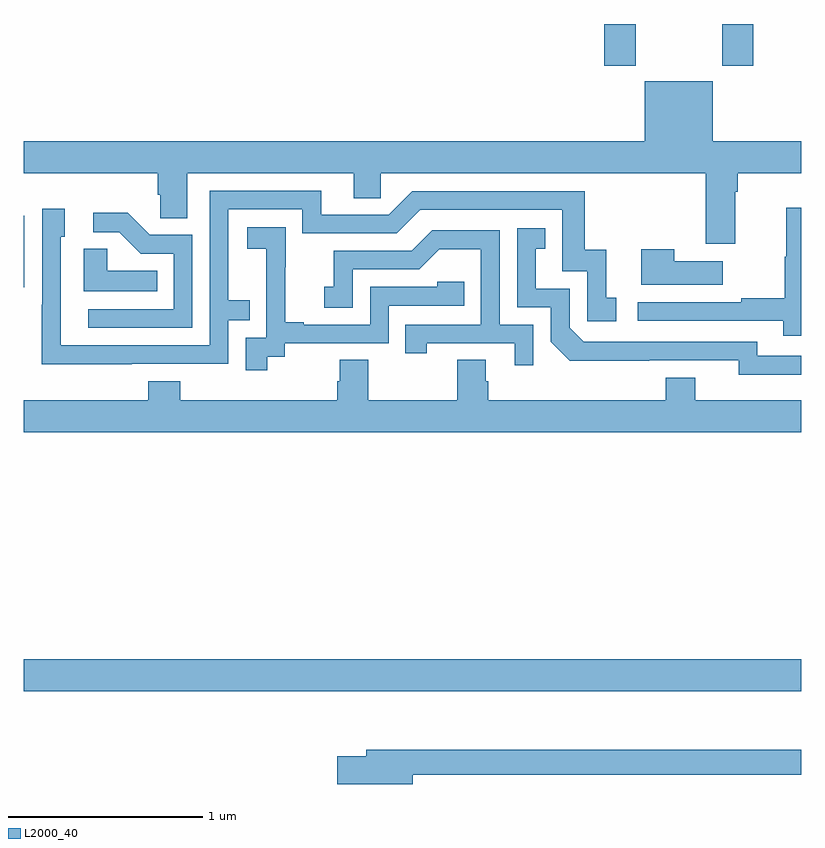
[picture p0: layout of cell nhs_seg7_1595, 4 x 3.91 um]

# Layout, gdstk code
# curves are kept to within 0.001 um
import gdstk
lib = gdstk.Library(unit=1e-6, precision=1e-09)
def R(c, l, rs):  # rectangles x0, y0, x1, y1
    for r in rs: c.add(gdstk.rectangle(r[:2], r[2:], *l))
def P(c, l, *ps):  # polygons
    for p in ps: c.add(gdstk.Polygon(p, *l))
L2000_40 = (2000, 40)

nhs_seg7_1595 = lib.new_cell('nhs_seg7_1595')
R(nhs_seg7_1595, L2000_40, [(219,1048.568,223,1048.732), (219,1050.645,219.003,1051.014), (221.987,1051.785,222.147,1052), (222.592,1051.785,222.752,1052)])
P(nhs_seg7_1595, L2000_40, [(219,1051.232),(219.689,1051.232),(219.689,1051.123),(219.702,1051.123),(219.702,1051),(219.841,1051),(219.841,1051.232),(220.697,1051.232),(220.697,1051.105),(220.836,1051.105),(220.836,1051.232),(222.509,1051.232),(222.509,1050.87),(222.661,1050.87),(222.661,1051.136),(222.674,1051.136),(222.674,1051.232),(223,1051.232),(223,1051.396),(222.544,1051.396),(222.544,1051.705),(222.194,1051.705),(222.194,1051.396),(219,1051.396)],
  [(219.557,1050.252),(220.053,1050.252),(220.053,1050.477),(220.163,1050.477),(220.163,1050.578),(220.053,1050.578),(220.053,1051.047),(220.434,1051.047),(220.434,1050.924),(220.92,1050.924),(221.04,1051.044),(221.769,1051.044),(221.769,1050.729),(221.898,1050.729),(221.898,1050.471),(222.049,1050.471),(222.049,1050.591),(221.996,1050.591),(221.996,1050.838),(221.885,1050.838),(221.885,1051.14),(220.998,1051.14),(220.878,1051.02),(220.531,1051.02),(220.531,1051.143),(219.957,1051.143),(219.957,1050.348),(219.192,1050.348),(219.192,1050.906),(219.211,1050.906),(219.211,1051.051),(219.096,1051.051),(219.096,1050.557),(219.094,1050.557),(219.094,1050.251)],
  [(223,1051.054),(222.922,1051.054),(222.922,1050.804),(222.915,1050.804),(222.915,1050.59),(222.691,1050.59),(222.691,1050.57),(222.159,1050.57),(222.159,1050.474),(222.907,1050.474),(222.907,1050.396),(223,1050.396)],
  [(219.867,1050.915),(219.648,1050.915),(219.535,1051.028),(219.357,1051.028),(219.357,1050.93),(219.491,1050.93),(219.602,1050.819),(219.771,1050.819),(219.771,1050.534),(219.333,1050.534),(219.333,1050.438),(219.867,1050.438)],
  [(220.252,1050.289),(220.344,1050.289),(220.344,1050.357),(220.878,1050.357),(220.878,1050.552),(221.267,1050.552),(221.267,1050.675),(221.127,1050.675),(221.127,1050.648),(220.782,1050.648),(220.782,1050.453),(220.441,1050.453),(220.441,1050.466),(220.346,1050.466),(220.346,1050.749),(220.347,1050.749),(220.347,1050.955),(220.149,1050.955),(220.149,1050.845),(220.247,1050.845),(220.247,1050.617),(220.248,1050.617),(220.248,1050.387),(220.143,1050.387),(220.143,1050.219),(220.252,1050.219)],
  [(223,1050.294),(222.774,1050.294),(222.774,1050.366),(221.88,1050.366),(221.808,1050.438),(221.808,1050.639),(221.635,1050.639),(221.635,1050.843),(221.684,1050.843),(221.684,1050.949),(221.538,1050.949),(221.538,1050.543),(221.712,1050.543),(221.712,1050.366),(221.81,1050.269),(222.678,1050.27),(222.678,1050.197),(223,1050.197)],
  [(221.622,1050.453),(221.448,1050.453),(221.448,1050.939),(221.102,1050.939),(220.997,1050.834),(220.594,1050.834),(220.594,1050.649),(220.545,1050.649),(220.545,1050.54),(220.692,1050.54),(220.692,1050.738),(221.034,1050.738),(221.138,1050.842),(221.352,1050.842),(221.352,1050.453),(220.963,1050.453),(220.963,1050.306),(221.074,1050.306),(221.074,1050.357),(221.525,1050.357),(221.525,1050.246),(221.622,1050.246)],
  [(219.686,1050.73),(219.429,1050.73),(219.429,1050.845),(219.308,1050.845),(219.308,1050.626),(219.686,1050.626)],
  [(222.595,1050.781),(222.347,1050.781),(222.347,1050.841),(222.176,1050.841),(222.176,1050.659),(222.595,1050.659)],
  [(223,1050.064),(222.454,1050.064),(222.454,1050.181),(222.302,1050.181),(222.302,1050.064),(221.39,1050.064),(221.39,1050.162),(221.377,1050.162),(221.377,1050.272),(221.23,1050.272),(221.23,1050.064),(220.773,1050.064),(220.773,1050.272),(220.625,1050.272),(220.625,1050.162),(220.613,1050.162),(220.613,1050.064),(219.806,1050.064),(219.806,1050.163),(219.641,1050.163),(219.641,1050.064),(219,1050.064),(219,1049.9),(223,1049.9)],
  [(221.002,1048.138),(223,1048.138),(223,1048.267),(220.763,1048.267),(220.763,1048.233),(220.614,1048.233),(220.614,1048.091),(221.002,1048.091)])

lib.write_gds('nhs_seg7_1595.gds')
